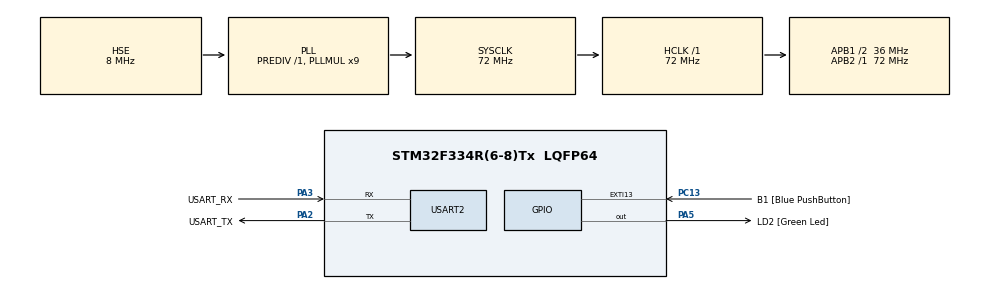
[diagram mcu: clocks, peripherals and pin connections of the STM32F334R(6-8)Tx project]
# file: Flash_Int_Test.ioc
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Mcu.Family=STM32F3
Mcu.Name=STM32F334R(6-8)Tx
Mcu.Package=LQFP64
NVIC.PriorityGroup=NVIC_PRIORITYGROUP_0
PA13.GPIO_Label=TMS
PA13.Mode=Serial_Wire
PA13.Signal=SYS_JTMS-SWDIO
PA14.GPIO_Label=TCK
PA14.Mode=Serial_Wire
PA14.Signal=SYS_JTCK-SWCLK
PA2.GPIO_Label=USART_TX
PA2.Mode=Asynchronous
PA2.Signal=USART2_TX
PA3.GPIO_Label=USART_RX
PA3.Mode=Asynchronous
PA3.Signal=USART2_RX
PA5.GPIO_Label=LD2 [Green Led]
PA5.Signal=GPIO_Output
PC13.GPIO_Label=B1 [Blue PushButton]
PC13.GPIO_ModeDefaultEXTI=GPIO_MODE_IT_FALLING
PC13.Signal=GPXTI13
PC14\ /\ OSC32_IN.Mode=LSE-External-Oscillator
PC14\ /\ OSC32_IN.Signal=RCC_OSC32_IN
PC15\ /\ OSC32_OUT.GPIO_Label=RCC_OSC32_OUT
PC15\ /\ OSC32_OUT.Mode=LSE-External-Oscillator
PC15\ /\ OSC32_OUT.Signal=RCC_OSC32_OUT
PF0\ /\ OSC_IN.Mode=HSE-External-Oscillator
PF0\ /\ OSC_IN.Signal=RCC_OSC_IN
PF1\ /\ OSC_OUT.Mode=HSE-External-Oscillator
PF1\ /\ OSC_OUT.Signal=RCC_OSC_OUT
ProjectManager.HeapSize=0x200
ProjectManager.StackSize=0x400
ProjectManager.TargetToolchain=STM32CubeIDE
RCC.AHBFreq_Value=72000000
RCC.APB1CLKDivider=RCC_HCLK_DIV2
RCC.APB1Freq_Value=36000000
RCC.APB1TimFreq_Value=72000000
RCC.APB2Freq_Value=72000000
RCC.APB2TimFreq_Value=72000000
RCC.CortexFreq_Value=72000000
RCC.EnbaleCSS=true
RCC.FLatency-AdvancedSettings=FLASH_LATENCY_2
RCC.HCLKFreq_Value=72000000
RCC.HSE_VALUE=8000000
RCC.HSI_VALUE=8000000
RCC.PLLMUL=RCC_PLL_MUL9
RCC.PLLSourceVirtual=RCC_PLLSOURCE_HSE
RCC.SYSCLKFreq_VALUE=72000000
RCC.SYSCLKSourceVirtual=RCC_SYSCLKSOURCE_PLLCLK
USART2.VirtualMode-Asynchronous=VM_ASYNC
board=NUCLEO-F334R8

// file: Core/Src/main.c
/* USER CODE BEGIN Header */
/**
  ******************************************************************************
  * @file           : main.c
  * @brief          : Main program body
  ******************************************************************************
  * @attention
  *
  * Copyright (c) 2024 STMicroelectronics.
  * All rights reserved.
  *
  * This software is licensed under terms that can be found in the LICENSE file
  * in the root directory of this software component.
  * If no LICENSE file comes with this software, it is provided AS-IS.
  *
  ******************************************************************************
  */
/* USER CODE END Header */
#include "main.h"

/* USER CODE BEGIN Includes */
#include "Flash_Page.h"
#include "string.h"
/* USER CODE END Includes */

UART_HandleTypeDef huart2;

void SystemClock_Config(void);
static void MX_GPIO_Init(void);
static void MX_USART2_UART_Init(void);

/* USER CODE BEGIN 0 */
char *data = "hello FLASH from ControllerTech\
			  This is a test to see how many words can we work with";

uint32_t data2[] = {0x1,0x2,0x3,0x4,0x5,0x6,0x7,0x8,0x9};

uint32_t Rx_Data[30];
char tx_data[8]={0};
char string[100];

int number = 123;

float val = 123.456;

float RxVal;
/* USER CODE END 0 */

int main(void)
{

  /* MCU Configuration--------------------------------------------------------*/

  /* Reset of all peripherals, Initializes the Flash interface and the Systick. */
  HAL_Init();

  /* Configure the system clock */
  SystemClock_Config();

  /* Initialize all configured peripherals */
  MX_GPIO_Init();
  MX_USART2_UART_Init();
  /* USER CODE BEGIN 2 */
  Flash_Write_Data(0x08004410 , (uint32_t *)data2, 9);
  Flash_Read_Data(0x08004410 , Rx_Data, 10);
  HAL_FLASH_Unlock();
  FLASH_PageErase(0x08004410);
  HAL_FLASH_Lock();

   int numofwords = (strlen(data)/4)+((strlen(data)%4)!=0);
   Flash_Write_Data(0x080047F8 , (uint32_t *)data, numofwords);
   Flash_Read_Data(0x080047F8 , Rx_Data, numofwords);
   Convert_To_Str(Rx_Data, string);
   Flash_Clear_Data(0x080047F8, numofwords);
//   HAL_UART_Transmit(&huart2, (uint8_t *)Rx_Data, strlen(Rx_Data), HAL_MAX_DELAY);

   Flash_Write_NUM(0x08005C10, number);
   RxVal = Flash_Read_NUM(0x08005C10);
   HAL_FLASH_Unlock();
   FLASH_PageErase(0x08005C10);
   HAL_FLASH_Lock();
//   sprintf(tx_data,"%.6f\r\n",RxVal);
//   HAL_UART_Transmit(&huart2, (uint8_t*)tx_data, strlen(tx_data), HAL_MAX_DELAY);
   Flash_Write_NUM(0x0800F000, val);
   RxVal = Flash_Read_NUM(0x0800F000);
   HAL_FLASH_Unlock();
      FLASH_PageErase(0x0800F000);
      HAL_FLASH_Lock();
//   sprintf(tx_data,"%.6f\r\n",RxVal);
//   HAL_UART_Transmit(&huart2, (uint8_t*)tx_data, strlen(tx_data), HAL_MAX_DELAY);
  /* USER CODE END 2 */

  /* Infinite loop */
  while (1)
  {

  }
}

void SystemClock_Config(void)
{
  RCC_OscInitTypeDef RCC_OscInitStruct = {0};
  RCC_ClkInitTypeDef RCC_ClkInitStruct = {0};

  /** Initializes the RCC Oscillators according to the specified parameters
  * in the RCC_OscInitTypeDef structure.
  */
  RCC_OscInitStruct.OscillatorType = RCC_OSCILLATORTYPE_HSE;
  RCC_OscInitStruct.HSEState = RCC_HSE_ON;
  RCC_OscInitStruct.HSEPredivValue = RCC_HSE_PREDIV_DIV1;
  RCC_OscInitStruct.HSIState = RCC_HSI_ON;
  RCC_OscInitStruct.PLL.PLLState = RCC_PLL_ON;
  RCC_OscInitStruct.PLL.PLLSource = RCC_PLLSOURCE_HSE;
  RCC_OscInitStruct.PLL.PLLMUL = RCC_PLL_MUL9;
  if (HAL_RCC_OscConfig(&RCC_OscInitStruct) != HAL_OK)
  {
    Error_Handler();
  }

  /** Initializes the CPU, AHB and APB buses clocks
  */
  RCC_ClkInitStruct.ClockType = RCC_CLOCKTYPE_HCLK|RCC_CLOCKTYPE_SYSCLK
                              |RCC_CLOCKTYPE_PCLK1|RCC_CLOCKTYPE_PCLK2;
  RCC_ClkInitStruct.SYSCLKSource = RCC_SYSCLKSOURCE_PLLCLK;
  RCC_ClkInitStruct.AHBCLKDivider = RCC_SYSCLK_DIV1;
  RCC_ClkInitStruct.APB1CLKDivider = RCC_HCLK_DIV2;
  RCC_ClkInitStruct.APB2CLKDivider = RCC_HCLK_DIV1;

  if (HAL_RCC_ClockConfig(&RCC_ClkInitStruct, FLASH_LATENCY_2) != HAL_OK)
  {
    Error_Handler();
  }

  /** Enables the Clock Security System
  */
  HAL_RCC_EnableCSS();
}

static void MX_USART2_UART_Init(void)
{

  huart2.Instance = USART2;
  huart2.Init.BaudRate = 38400;
  huart2.Init.WordLength = UART_WORDLENGTH_8B;
  huart2.Init.StopBits = UART_STOPBITS_1;
  huart2.Init.Parity = UART_PARITY_NONE;
  huart2.Init.Mode = UART_MODE_TX_RX;
  huart2.Init.HwFlowCtl = UART_HWCONTROL_NONE;
  huart2.Init.OverSampling = UART_OVERSAMPLING_16;
  huart2.Init.OneBitSampling = UART_ONE_BIT_SAMPLE_DISABLE;
  huart2.AdvancedInit.AdvFeatureInit = UART_ADVFEATURE_NO_INIT;
  if (HAL_UART_Init(&huart2) != HAL_OK)
  {
    Error_Handler();
  }

}

static void MX_GPIO_Init(void)
{
  GPIO_InitTypeDef GPIO_InitStruct = {0};

  /* GPIO Ports Clock Enable */
  __HAL_RCC_GPIOC_CLK_ENABLE();
  __HAL_RCC_GPIOF_CLK_ENABLE();
  __HAL_RCC_GPIOA_CLK_ENABLE();

  /*Configure GPIO pin Output Level */
  HAL_GPIO_WritePin(LD2_GPIO_Port, LD2_Pin, GPIO_PIN_RESET);

  /*Configure GPIO pin : B1_Pin */
  GPIO_InitStruct.Pin = B1_Pin;
  GPIO_InitStruct.Mode = GPIO_MODE_IT_FALLING;
  GPIO_InitStruct.Pull = GPIO_NOPULL;
  HAL_GPIO_Init(B1_GPIO_Port, &GPIO_InitStruct);

  /*Configure GPIO pin : LD2_Pin */
  GPIO_InitStruct.Pin = LD2_Pin;
  GPIO_InitStruct.Mode = GPIO_MODE_OUTPUT_PP;
  GPIO_InitStruct.Pull = GPIO_NOPULL;
  GPIO_InitStruct.Speed = GPIO_SPEED_FREQ_LOW;
  HAL_GPIO_Init(LD2_GPIO_Port, &GPIO_InitStruct);

}

void Error_Handler(void)
{
  __disable_irq();
  while (1)
  {
  }
}
